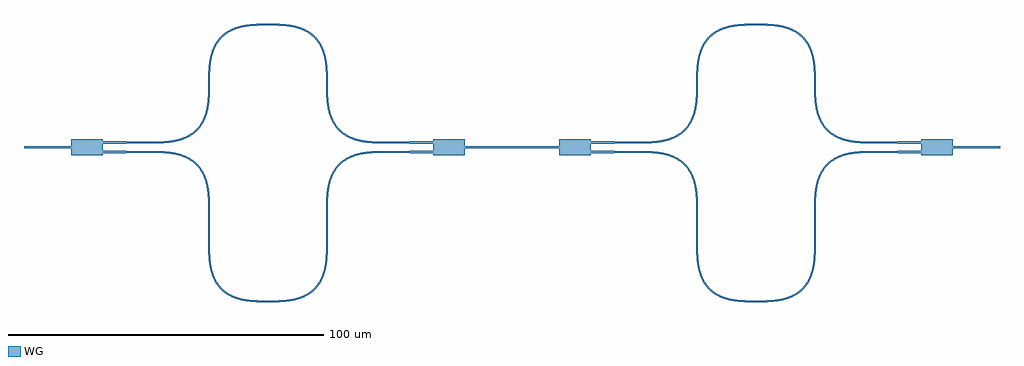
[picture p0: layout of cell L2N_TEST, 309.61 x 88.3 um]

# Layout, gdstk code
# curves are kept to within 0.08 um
from math import pi, radians
import gdstk
lib = gdstk.Library(unit=1e-6, precision=1e-09)
def R(c, l, rs):  # rectangles x0, y0, x1, y1
    for r in rs: c.add(gdstk.rectangle(r[:2], r[2:], *l))
def P(c, l, *ps):  # polygons
    for p in ps: c.add(gdstk.Polygon(p, *l))
WG = (1, 0)

l2n_mmi_body = lib.new_cell('L2N.mmi_body')
R(l2n_mmi_body, WG, [(-5,-2.5,5,2.5)])

l2n_taper_w500_w1000_l15 = lib.new_cell('L2N.taper_W500_W1000_L15000_LWG_ENone')
P(l2n_taper_w500_w1000_l15, WG, [(15,-0.5),(0,-0.25),(0,0.25),(15,0.5)])

l2n_mmi = lib.new_cell('L2N.mmi')
l2n_mmi.add(gdstk.Reference(l2n_mmi_body, (0,0)))
l2n_mmi.add(gdstk.Reference(l2n_taper_w500_w1000_l15, (-20,0)))
l2n_mmi.add(gdstk.Reference(l2n_taper_w500_w1000_l15, (20,1.5), rotation=pi))
l2n_mmi.add(gdstk.Reference(l2n_taper_w500_w1000_l15, (20,-1.5), rotation=pi))

l2n_bend_euler_w0p5_r10_ = lib.new_cell('L2N.bend_euler_W0p5_R10_LWG_ENone_A90_R150')
P(l2n_bend_euler_w0p5_r10_, WG, [(0,-0.25),(0,0.25),(3.214,0.285),(5.343,0.413),(7.449,0.696),(9.255,1.116),(10.752,1.632),(12.178,2.312),(13.501,3.168),(14.496,4.019),(15.372,4.992),(16.258,6.294),(16.967,7.705),(17.51,9.193),(17.956,10.991),(18.262,13.093),(18.416,15.487),(18.451,18.701),(18.951,18.701),(18.924,15.741),(18.786,13.312),(18.544,11.43),(18.139,9.57),(17.532,7.761),(16.826,6.28),(16.095,5.121),(15.04,3.856),(13.801,2.769),(12.421,1.875),(10.94,1.169),(9.131,0.562),(7.271,0.157),(5.389,-0.085),(2.96,-0.223)])

l2n_straight_w500_l10000 = lib.new_cell('L2N.straight_W500_L10000_LWG_ENone')
R(l2n_straight_w500_l10000, WG, [(0,-0.25,10,0.25)])

l2n_mzi = lib.new_cell('L2N.mzi')
l2n_mzi.add(gdstk.Reference(l2n_mmi, (0,0)))
l2n_mzi.add(gdstk.Reference(l2n_mmi, (114.804,0), rotation=pi))
l2n_mzi.add(gdstk.Reference(l2n_bend_euler_w0p5_r10_, (20,1.5)))
l2n_mzi.add(gdstk.Reference(l2n_bend_euler_w0p5_r10_, (57.402,38.902), rotation=pi))
l2n_mzi.add(gdstk.Reference(l2n_bend_euler_w0p5_r10_, (76.103,20.201), rotation=pi/2))
l2n_mzi.add(gdstk.Reference(l2n_bend_euler_w0p5_r10_, (76.103,20.201), rotation=3*pi/2))
l2n_mzi.add(gdstk.Reference(l2n_straight_w500_l10000, (38.701,-20.201), rotation=3*pi/2, x_reflection=True))
l2n_mzi.add(gdstk.Reference(l2n_straight_w500_l10000, (76.103,-30.201), rotation=pi/2, x_reflection=True))
l2n_mzi.add(gdstk.Reference(l2n_bend_euler_w0p5_r10_, (20,-1.5), x_reflection=True))
l2n_mzi.add(gdstk.Reference(l2n_bend_euler_w0p5_r10_, (57.402,-48.902), rotation=pi, x_reflection=True))
l2n_mzi.add(gdstk.Reference(l2n_bend_euler_w0p5_r10_, (76.103,-30.201), rotation=3*pi/2, x_reflection=True))
l2n_mzi.add(gdstk.Reference(l2n_bend_euler_w0p5_r10_, (76.103,-20.201), rotation=pi/2, x_reflection=True))

l2n_test = lib.new_cell('L2N_TEST')
l2n_test.add(gdstk.Reference(l2n_mzi, (0,0)))
l2n_test.add(gdstk.Reference(l2n_mzi, (154.804,0)))

lib.write_gds('L2N_TEST.gds')
